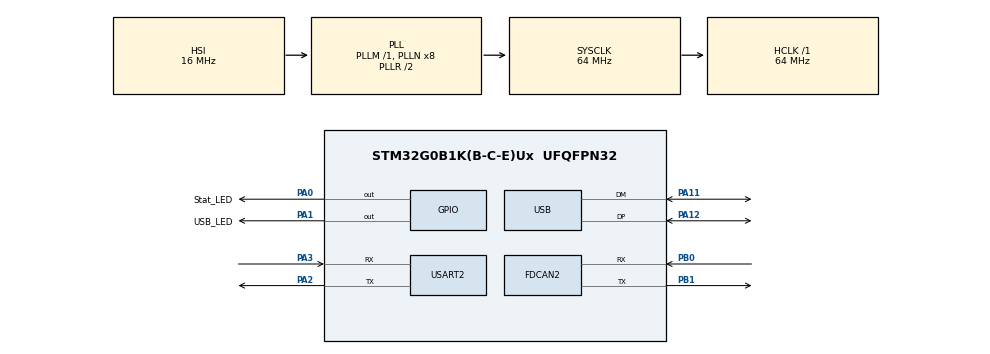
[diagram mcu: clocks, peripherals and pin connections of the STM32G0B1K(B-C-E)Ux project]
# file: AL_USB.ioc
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FDCAN2.CalculateBaudRateNominal=1333333
FDCAN2.CalculateTimeBitNominal=750
FDCAN2.CalculateTimeQuantumNominal=250.0
Mcu.Family=STM32G0
Mcu.Name=STM32G0B1K(B-C-E)Ux
Mcu.Package=UFQFPN32
NVIC.TIM2_IRQn=true\:0\:0\:false\:false\:true\:true\:true\:true
NVIC.USB_UCPD1_2_IRQn=true\:0\:0\:false\:false\:true\:true\:true\:true
PA0.GPIO_Label=Stat_LED
PA0.GPIO_ModeDefaultOutputPP=GPIO_MODE_OUTPUT_OD
PA0.GPIO_PuPd=GPIO_NOPULL
PA0.PinState=GPIO_PIN_SET
PA0.Signal=GPIO_Output
PA1.GPIO_Label=USB_LED
PA1.GPIO_ModeDefaultOutputPP=GPIO_MODE_OUTPUT_OD
PA1.GPIO_PuPd=GPIO_NOPULL
PA1.PinState=GPIO_PIN_SET
PA1.Signal=GPIO_Output
PA11\ [PA9].Mode=Device
PA11\ [PA9].Signal=USB_DM
PA12\ [PA10].Mode=Device
PA12\ [PA10].Signal=USB_DP
PA13.Mode=Serial_Wire
PA13.Signal=SYS_SWDIO
PA14-BOOT0.Mode=Serial_Wire
PA14-BOOT0.Signal=SYS_SWCLK
PA2.Mode=Asynchronous
PA2.Signal=USART2_TX
PA3.Mode=Asynchronous
PA3.Signal=USART2_RX
PB0.Mode=FDCAN_Activate
PB0.Signal=FDCAN2_RX
PB1.Mode=FDCAN_Activate
PB1.Signal=FDCAN2_TX
ProjectManager.HeapSize=0x200
ProjectManager.StackSize=0x400
ProjectManager.TargetToolchain=MDK-ARM V5.32
RCC.ADCFreq_Value=64000000
RCC.AHBFreq_Value=64000000
RCC.CortexFreq_Value=64000000
RCC.EXTERNAL_CLOCK_VALUE=48000
RCC.HCLKFreq_Value=64000000
RCC.HSE_VALUE=8000000
RCC.HSI48_VALUE=48000000
RCC.HSI_VALUE=16000000
RCC.LSE_VALUE=32768
RCC.SYSCLKFreq_VALUE=64000000
RCC.SYSCLKSource=RCC_SYSCLKSOURCE_PLLCLK
RCC.USBFreq_Value=48000000
RCC.VCOOutputFreq_Value=128000000
TIM2.AutoReloadPreload=TIM_AUTORELOAD_PRELOAD_ENABLE
TIM2.Period=4999
TIM2.Prescaler=63
USART2.VirtualMode-Asynchronous=VM_ASYNC
USB_DEVICE.CLASS_NAME_FS=CUSTOM_HID
USB_DEVICE.MANUFACTURER_STRING=DT Interligent
USB_DEVICE.PID_CUSTOMHID_FS=0xA7D1
USB_DEVICE.PRODUCT_STRING_CUSTOMHID_FS=DT Controller
USB_DEVICE.USBD_CUSTOMHID_OUTREPORT_BUF_SIZE=64
USB_DEVICE.USBD_CUSTOM_HID_REPORT_DESC_SIZE=64
USB_DEVICE.USBD_LPM_ENABLED=0
USB_DEVICE.VID=0x483
USB_DEVICE.VirtualMode=CustomHid
USB_DEVICE.VirtualModeFS=Custom_Hid_FS
USB_DRD_FS.lpm_enable=DISABLE
VP_SYS_VS_DBSignals.Mode=DisableDeadBatterySignals
VP_TIM2_VS_ClockSourceINT.Mode=Internal
VP_USB_DEVICE_VS_USB_DEVICE_CUSTOM_HID_FS.Mode=CUSTOM_HID_FS
board=custom

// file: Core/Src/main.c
/* USER CODE BEGIN Header */
/**
  ******************************************************************************
  * @file           : main.c
  * @brief          : Main program body
  ******************************************************************************
  * @attention
  *
  * Copyright (c) 2025 STMicroelectronics.
  * All rights reserved.
  *
  * This software is licensed under terms that can be found in the LICENSE file
  * in the root directory of this software component.
  * If no LICENSE file comes with this software, it is provided AS-IS.
  *
  ******************************************************************************
  */
/* USER CODE END Header */
#include "main.h"
#include "fdcan.h"
#include "tim.h"
#include "usart.h"
#include "usb_device.h"
#include "gpio.h"

/* USER CODE BEGIN Includes */
#include "usbd_customhid.h"

/* USER CODE END Includes */

/* USER CODE BEGIN PV */
uint32_t TSB;

uint8_t buf[64] = {0x01, 0xAA, 0x55};
uint8_t USBD_CustomHID_OutBuffer[64];

/* USER CODE END PV */

void SystemClock_Config(void);

int main(void)
{

  /* USER CODE BEGIN 1 */
	TSB = 0;
  /* USER CODE END 1 */

  /* MCU Configuration--------------------------------------------------------*/

  /* Reset of all peripherals, Initializes the Flash interface and the Systick. */
  HAL_Init();

  /* Configure the system clock */
  SystemClock_Config();

  /* Initialize all configured peripherals */
  MX_GPIO_Init();
  MX_TIM2_Init();
  MX_FDCAN2_Init();
  MX_USART2_UART_Init();
  MX_USB_Device_Init();
  /* USER CODE BEGIN 2 */
	for(uint8_t i=0;i<64;i++)
	{
		buf[i]=i;
	}

	HAL_Delay(1000);

	FDCAN_FilterTypeDef filter;

	filter.IdType       = FDCAN_STANDARD_ID;
	filter.FilterIndex  = 0;
	filter.FilterType   = FDCAN_FILTER_RANGE;      // ��ȫ��
	filter.FilterConfig = FDCAN_FILTER_TO_RXFIFO0;
	filter.FilterID1    = 0x000;
	filter.FilterID2    = 0x7FF;

	HAL_FDCAN_ConfigFilter(&hfdcan2, &filter);

	HAL_FDCAN_Start(&hfdcan2);
	HAL_FDCAN_ActivateNotification(&hfdcan2, FDCAN_IT_RX_FIFO0_NEW_MESSAGE, 0);

  /* USER CODE END 2 */

  /* Infinite loop */
  /* USER CODE BEGIN WHILE */
  while (1)
  {

//if (HAL_FDCAN_GetRxFifoFillLevel(&hfdcan2, FDCAN_RX_FIFO0) > 0)
//{
//    FDCAN_RxHeaderTypeDef rxHeader;
//

//    HAL_FDCAN_GetRxMessage(&hfdcan2,
//                           FDCAN_RX_FIFO0,
//                           &rxHeader,
//                           CAN_rxData);

//    HAL_GPIO_TogglePin(Stat_LED_GPIO_Port, Stat_LED_Pin);
//}

		//buf[3]++;
		//buf[63] = 0xFF;
		//USBD_CUSTOM_HID_SendReport(&hUsbDeviceFS, buf, 64);
    //HAL_Delay(1000);
    /* USER CODE END WHILE */

  }
}

void SystemClock_Config(void)
{
  RCC_OscInitTypeDef RCC_OscInitStruct = {0};
  RCC_ClkInitTypeDef RCC_ClkInitStruct = {0};

  /** Configure the main internal regulator output voltage
  */
  HAL_PWREx_ControlVoltageScaling(PWR_REGULATOR_VOLTAGE_SCALE1);

  /** Initializes the RCC Oscillators according to the specified parameters
  * in the RCC_OscInitTypeDef structure.
  */
  RCC_OscInitStruct.OscillatorType = RCC_OSCILLATORTYPE_HSI|RCC_OSCILLATORTYPE_HSI48;
  RCC_OscInitStruct.HSIState = RCC_HSI_ON;
  RCC_OscInitStruct.HSI48State = RCC_HSI48_ON;
  RCC_OscInitStruct.HSIDiv = RCC_HSI_DIV1;
  RCC_OscInitStruct.HSICalibrationValue = RCC_HSICALIBRATION_DEFAULT;
  RCC_OscInitStruct.PLL.PLLState = RCC_PLL_ON;
  RCC_OscInitStruct.PLL.PLLSource = RCC_PLLSOURCE_HSI;
  RCC_OscInitStruct.PLL.PLLM = RCC_PLLM_DIV1;
  RCC_OscInitStruct.PLL.PLLN = 8;
  RCC_OscInitStruct.PLL.PLLP = RCC_PLLP_DIV2;
  RCC_OscInitStruct.PLL.PLLQ = RCC_PLLQ_DIV2;
  RCC_OscInitStruct.PLL.PLLR = RCC_PLLR_DIV2;
  if (HAL_RCC_OscConfig(&RCC_OscInitStruct) != HAL_OK)
  {
    Error_Handler();
  }

  /** Initializes the CPU, AHB and APB buses clocks
  */
  RCC_ClkInitStruct.ClockType = RCC_CLOCKTYPE_HCLK|RCC_CLOCKTYPE_SYSCLK
                              |RCC_CLOCKTYPE_PCLK1;
  RCC_ClkInitStruct.SYSCLKSource = RCC_SYSCLKSOURCE_PLLCLK;
  RCC_ClkInitStruct.AHBCLKDivider = RCC_SYSCLK_DIV1;
  RCC_ClkInitStruct.APB1CLKDivider = RCC_HCLK_DIV1;

  if (HAL_RCC_ClockConfig(&RCC_ClkInitStruct, FLASH_LATENCY_2) != HAL_OK)
  {
    Error_Handler();
  }
}

void Error_Handler(void)
{
  __disable_irq();
  while (1)
  {
  }
}
